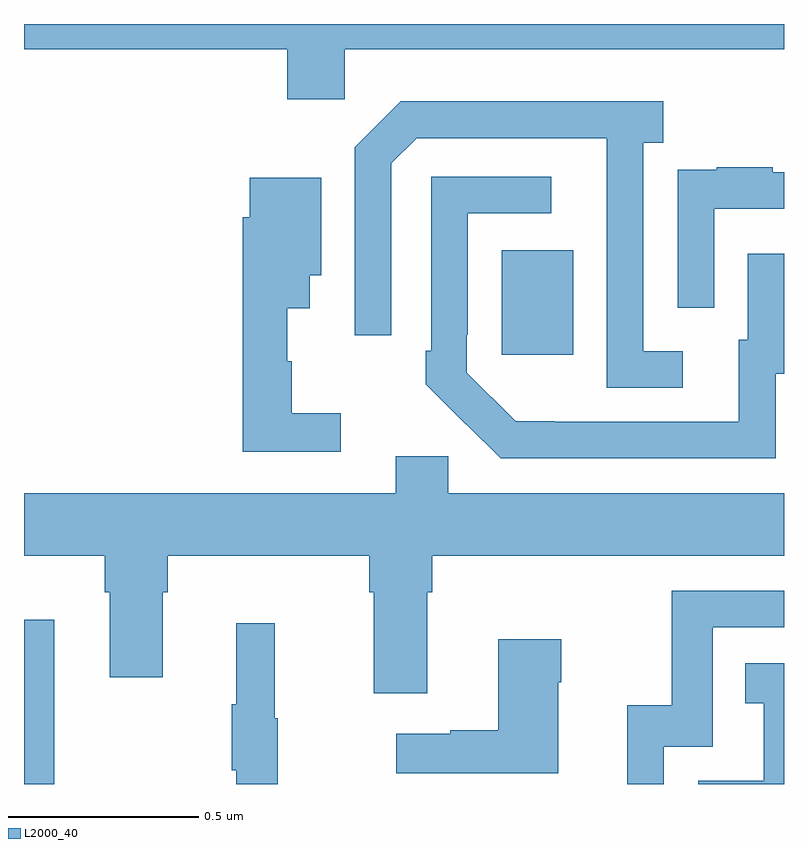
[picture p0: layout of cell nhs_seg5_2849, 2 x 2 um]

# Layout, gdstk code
import gdstk
lib = gdstk.Library(unit=1e-6, precision=1e-09)
def R(c, l, rs):  # rectangles x0, y0, x1, y1
    for r in rs: c.add(gdstk.rectangle(r[:2], r[2:], *l))
def P(c, l, *ps):  # polygons
    for p in ps: c.add(gdstk.Polygon(p, *l))
L2000_40 = (2000, 40)

nhs_seg5_2849 = lib.new_cell('nhs_seg5_2849')
R(nhs_seg5_2849, L2000_40, [(149,882.799,149.08,883.231), (150.257,883.929,150.445,884.203)])
P(nhs_seg5_2849, L2000_40, [(149.844,884.732),(151,884.732),(151,884.799),(149,884.799),(149,884.732),(149.693,884.732),(149.693,884.601),(149.844,884.601)],
  [(150.733,883.938),(150.63,883.938),(150.63,884.486),(150.682,884.486),(150.682,884.596),(149.992,884.596),(149.871,884.475),(149.871,883.98),(149.967,883.98),(149.967,884.433),(150.033,884.499),(150.533,884.499),(150.533,884.299),(150.534,884.299),(150.534,883.842),(150.733,883.842)],
  [(150.816,884.313),(151,884.313),(151,884.409),(150.971,884.409),(150.971,884.422),(150.823,884.422),(150.823,884.415),(150.721,884.415),(150.721,884.306),(150.72,884.306),(150.72,884.052),(150.816,884.052)],
  [(150.978,883.878),(151,883.878),(151,884.194),(150.905,884.194),(150.905,883.968),(150.881,883.968),(150.881,883.752),(150.397,883.752),(150.397,883.753),(150.294,883.753),(150.165,883.881),(150.165,883.981),(150.168,883.981),(150.168,884.301),(150.388,884.301),(150.388,884.397),(150.072,884.397),(150.072,883.939),(150.057,883.939),(150.057,883.851),(150.162,883.746),(150.163,883.747),(150.254,883.656),(150.978,883.656)],
  [(149.833,883.775),(149.704,883.775),(149.704,883.911),(149.693,883.911),(149.693,884.051),(149.752,884.051),(149.752,884.138),(149.782,884.138),(149.782,884.395),(149.594,884.395),(149.594,884.291),(149.575,884.291),(149.575,883.674),(149.833,883.674)],
  [(150.061,883.304),(150.074,883.304),(150.074,883.4),(151,883.4),(151,883.564),(150.117,883.564),(150.117,883.662),(149.978,883.662),(149.978,883.564),(149,883.564),(149,883.4),(149.213,883.4),(149.213,883.304),(149.225,883.304),(149.225,883.08),(149.365,883.08),(149.365,883.304),(149.378,883.304),(149.378,883.4),(149.909,883.4),(149.909,883.304),(149.921,883.304),(149.921,883.038),(150.061,883.038)],
  [(150.684,882.897),(150.813,882.897),(150.813,883.212),(151,883.212),(151,883.308),(150.705,883.308),(150.705,883.006),(150.587,883.006),(150.587,882.799),(150.684,882.799)],
  [(149.668,882.972),(149.66,882.972),(149.66,883.222),(149.558,883.222),(149.558,883.009),(149.547,883.009),(149.547,882.835),(149.558,882.835),(149.558,882.799),(149.668,882.799)],
  [(150.406,883.067),(150.414,883.067),(150.414,883.18),(150.248,883.18),(150.248,882.941),(150.122,882.941),(150.122,882.931),(149.979,882.931),(149.979,882.827),(150.406,882.827)],
  [(151,883.117),(150.898,883.117),(150.898,883.011),(150.947,883.011),(150.947,882.807),(150.774,882.807),(150.774,882.799),(151,882.799)])

lib.write_gds('nhs_seg5_2849.gds')
